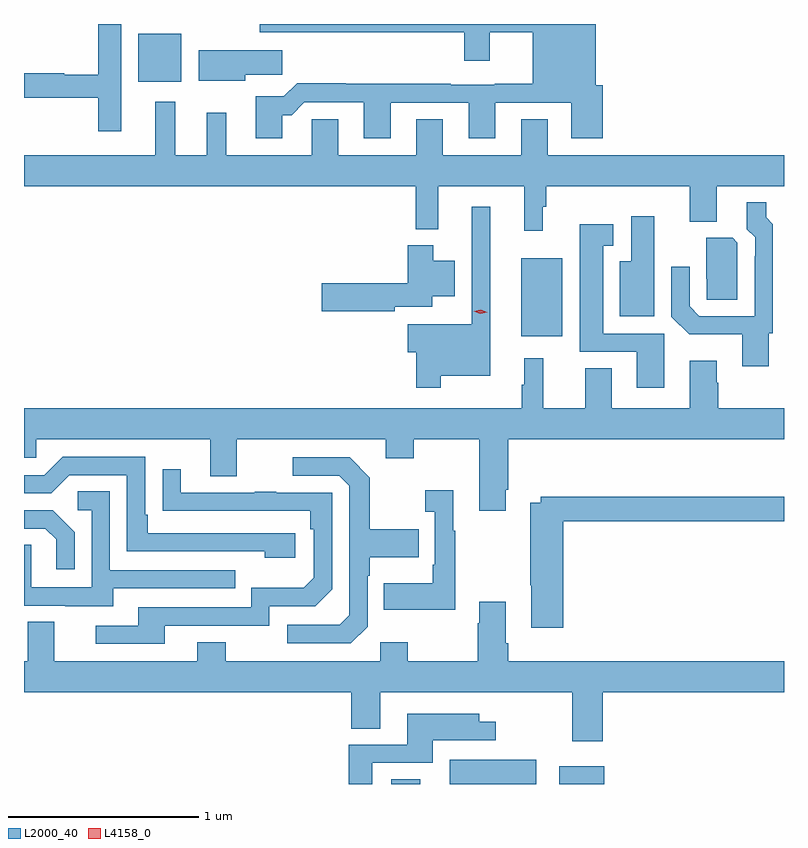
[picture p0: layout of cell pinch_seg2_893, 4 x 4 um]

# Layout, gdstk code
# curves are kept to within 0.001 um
import gdstk
lib = gdstk.Library(unit=1e-6, precision=1e-09)
def R(c, l, rs):  # rectangles x0, y0, x1, y1
    for r in rs: c.add(gdstk.rectangle(r[:2], r[2:], *l))
def P(c, l, *ps):  # polygons
    for p in ps: c.add(gdstk.Polygon(p, *l))
L2000_40 = (2000, 40)
L4158_0 = (4158, 0)

pinch_seg2_893 = lib.new_cell('pinch_seg2_893')
R(pinch_seg2_893, L2000_40, [(407.681,648.486,407.833,648.511), (407.99,648.486,408.444,648.613), (408.566,648.486,408.802,648.58), (408.365,650.843,408.58,651.253), (406.349,652.181,406.576,652.435)])
P(pinch_seg2_893, L2000_40, [(406.261,652.486),(406.14,652.486),(406.14,652.219),(405.961,652.219),(405.961,652.226),(405.748,652.226),(405.748,652.098),(406.14,652.098),(406.14,651.921),(406.261,651.921)],
  [(407.107,652.007),(407.156,652.007),(407.223,652.074),(407.537,652.074),(407.537,651.885),(407.677,651.885),(407.677,652.071),(408.089,652.071),(408.089,651.885),(408.229,651.885),(408.229,652.071),(408.629,652.071),(408.629,651.885),(408.794,651.885),(408.794,652.164),(408.757,652.164),(408.757,652.486),(406.988,652.486),(406.988,652.442),(408.065,652.442),(408.065,652.293),(408.199,652.293),(408.199,652.442),(408.425,652.442),(408.425,652.172),(408.225,652.172),(408.225,652.167),(407.993,652.167),(407.993,652.172),(407.441,652.172),(407.441,652.175),(407.186,652.175),(407.116,652.105),(406.967,652.105),(406.967,651.885),(407.107,651.885)],
  [(406.912,652.219),(407.107,652.219),(407.107,652.348),(406.668,652.348),(406.668,652.187),(406.912,652.187)],
  [(408.479,651.524),(408.497,651.524),(408.497,651.632),(409.253,651.632),(409.253,651.445),(409.393,651.445),(409.393,651.632),(409.748,651.632),(409.748,651.796),(408.505,651.796),(408.505,651.986),(408.365,651.986),(408.365,651.796),(407.953,651.796),(407.953,651.986),(407.813,651.986),(407.813,651.796),(407.401,651.796),(407.401,651.986),(407.262,651.986),(407.262,651.796),(406.813,651.796),(406.813,652.018),(406.709,652.018),(406.709,651.796),(406.543,651.796),(406.543,652.078),(406.439,652.078),(406.439,651.796),(405.748,651.796),(405.748,651.632),(407.809,651.632),(407.809,651.407),(407.927,651.407),(407.927,651.632),(408.38,651.632),(408.38,651.399),(408.479,651.399)],
  [(409.669,650.859),(409.689,650.859),(409.689,651.433),(409.654,651.468),(409.654,651.547),(409.553,651.547),(409.553,651.406),(409.596,651.363),(409.596,651.263),(409.593,651.263),(409.593,650.949),(409.302,650.949),(409.251,651),(409.251,651.208),(409.155,651.208),(409.155,650.946),(409.249,650.852),(409.529,650.852),(409.529,650.685),(409.669,650.685)],
  [(407.941,650.636),(408.202,650.636),(408.202,651.523),(408.105,651.523),(408.105,650.905),(407.768,650.905),(407.768,650.758),(407.812,650.758),(407.812,650.571),(407.941,650.571)],
  [(409.066,651.475),(408.944,651.475),(408.944,651.238),(408.884,651.238),(408.884,650.948),(409.066,650.948)],
  [(409.117,650.856),(408.796,650.856),(408.796,651.32),(408.85,651.32),(408.85,651.433),(408.674,651.433),(408.674,650.76),(408.974,650.76),(408.974,650.571),(409.117,650.571)],
  [(409.503,651.336),(409.479,651.36),(409.34,651.36),(409.34,651.145),(409.341,651.145),(409.341,651.034),(409.503,651.034)],
  [(407.7,650.999),(407.896,650.999),(407.896,651.053),(408.016,651.053),(408.016,651.241),(407.902,651.241),(407.902,651.322),(407.768,651.322),(407.768,651.122),(407.316,651.122),(407.316,650.975),(407.7,650.975)],
  [(408.283,650.035),(408.296,650.035),(408.296,650.3),(409.748,650.3),(409.748,650.464),(409.401,650.464),(409.401,650.597),(409.393,650.597),(409.393,650.713),(409.253,650.713),(409.253,650.464),(408.841,650.464),(408.841,650.675),(408.701,650.675),(408.701,650.464),(408.48,650.464),(408.48,650.728),(408.38,650.728),(408.38,650.588),(408.369,650.588),(408.369,650.464),(405.748,650.464),(405.748,650.202),(405.813,650.202),(405.813,650.3),(406.727,650.3),(406.727,650.106),(406.867,650.106),(406.867,650.3),(407.651,650.3),(407.651,650.201),(407.799,650.201),(407.799,650.3),(408.143,650.3),(408.143,649.923),(408.283,649.923)],
  [(407.176,649.806),(406.399,649.806),(406.399,649.903),(406.386,649.903),(406.386,650.208),(405.951,650.208),(405.855,650.112),(405.748,650.112),(405.748,650.016),(405.891,650.016),(405.987,650.112),(406.29,650.112),(406.29,649.71),(407.015,649.71),(407.015,649.676),(407.176,649.676)],
  [(407.556,649.314),(407.556,649.583),(407.569,649.583),(407.569,649.679),(407.825,649.679),(407.825,649.827),(407.569,649.827),(407.569,650.099),(407.463,650.205),(407.163,650.205),(407.163,650.109),(407.406,650.109),(407.46,650.055),(407.46,649.374),(407.409,649.323),(407.133,649.323),(407.133,649.227),(407.469,649.227)],
  [(406.489,649.32),(407.04,649.32),(407.04,649.422),(407.28,649.422),(407.37,649.512),(407.37,650.019),(407.075,650.019),(407.075,650.024),(406.963,650.024),(406.963,650.019),(406.573,650.019),(406.573,650.143),(406.477,650.143),(406.477,649.924),(407.254,649.923),(407.254,649.826),(407.274,649.826),(407.274,649.572),(407.221,649.519),(406.944,649.519),(406.944,649.416),(406.349,649.416),(406.349,649.32),(406.125,649.32),(406.125,649.224),(406.489,649.224)],
  [(408.019,649.819),(408.007,649.819),(408.007,650.032),(407.859,650.032),(407.859,649.919),(407.91,649.919),(407.91,649.639),(407.898,649.639),(407.898,649.543),(407.641,649.543),(407.641,649.403),(408.019,649.403)],
  [(406.219,649.515),(406.859,649.515),(406.859,649.611),(406.2,649.611),(406.2,650.027),(406.032,650.027),(406.032,649.926),(406.104,649.926),(406.104,649.521),(405.786,649.521),(405.786,649.745),(405.748,649.745),(405.748,649.425),(405.965,649.425),(405.965,649.421),(406.219,649.421)],
  [(408.587,649.87),(409.748,649.87),(409.748,649.999),(408.468,649.999),(408.468,649.966),(408.412,649.966),(408.412,649.531),(408.419,649.531),(408.419,649.308),(408.587,649.308)],
  [(406.014,649.81),(405.898,649.926),(405.748,649.926),(405.748,649.83),(405.86,649.83),(405.917,649.773),(405.917,649.617),(406.014,649.617)],
  [(408.296,649.228),(408.283,649.228),(408.283,649.444),(408.143,649.444),(408.143,649.331),(408.136,649.331),(408.136,649.132),(407.769,649.132),(407.769,649.231),(407.622,649.231),(407.622,649.132),(406.809,649.132),(406.809,649.231),(406.661,649.231),(406.661,649.132),(405.907,649.132),(405.907,649.34),(405.767,649.34),(405.767,649.132),(405.748,649.132),(405.748,648.968),(407.471,648.968),(407.471,648.778),(407.623,648.778),(407.623,648.968),(408.634,648.968),(408.634,648.711),(408.794,648.711),(408.794,648.968),(409.748,648.968),(409.748,649.132),(408.296,649.132)],
  [(407.581,648.597),(407.899,648.597),(407.899,648.717),(408.232,648.717),(408.232,648.814),(408.145,648.814),(408.145,648.856),(407.765,648.856),(407.765,648.693),(407.456,648.693),(407.456,648.486),(407.581,648.486)])
P(pinch_seg2_893, L4158_0, [(408.15,650.961),(408.116,650.973),(408.115,650.973),(408.116,650.973),(408.152,650.981),(408.186,650.969),(408.187,650.969),(408.186,650.969)])

lib.write_gds('pinch_seg2_893.gds')
